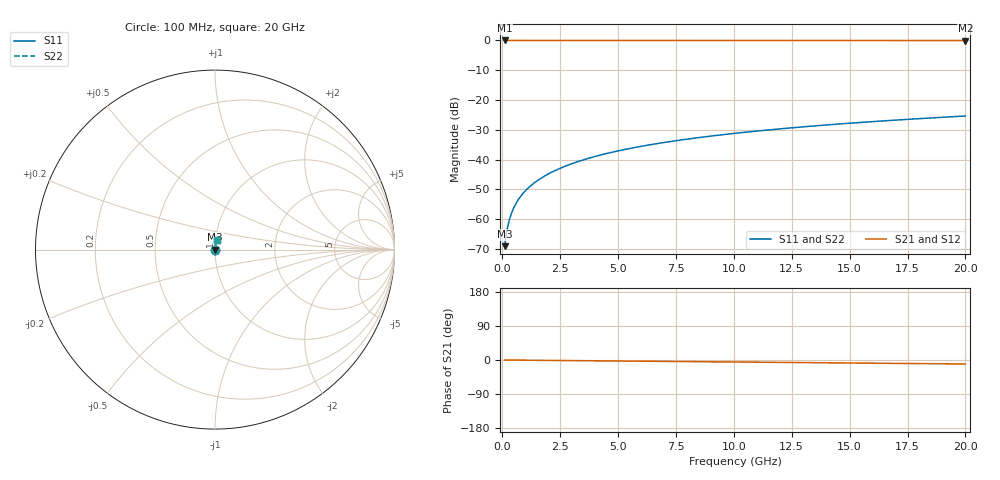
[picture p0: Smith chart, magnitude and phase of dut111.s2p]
! Touchstone file exported from HFSS 2026.1.0
!  File:  C:/ffzhzh/LocalFiles/Ansys_Project_Files/temp_train_TSV_111_1782989685_42984.aedt
!  Generated:  06:56:25 PM Jul  2, 2026
!  Design:  TSV
!  Project:  temp_train_TSV_111_1782989685_42984
! Variables:
!  h_bsmrdl = 2um
!  h_ox = 20um
!  h_rdl = 5um
!  h_sub = 98.56um
!  h_tmrdl = 5um
!  h_tsv = 98.56um
!  h_via = 3um
!  l_bsmrdl = 300um
!  l_sub = 419.46um
!  l_tmrdl = 200um
!  m_sub = 200um
!  pitch = 57.89um
!  r_tsv = 9.73um
!  s_tmrdl = 10um
!  w_bsmrdl = 18um
!  w_sub = 500um
!  w_tmrdl = 12um
!  x_tsv_center1 = 206um
!  x_tsv_center2 = 524um
!  x_tsv_center3 = 736um
!  x_tsv_center4 = 1054um
!  x_tsv_center5 = 1266um
!  x_tsv_center6 = 1584um
# GHz S MA R 50.000000
! Terminal data exported
! Port[1] = TSV1_1_T1
! Port[2] = TSV1_1_T2
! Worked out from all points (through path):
!   200 points, 100 MHz to 20 GHz, reference 50 ohm
!   highest |S21| = 0.00 dB at 100 MHz (marker M1); lowest = 0.0 dB at 20 GHz (marker M2)
!   group delay of S21, straight-line fit = 1.46 ps
!   lowest |S11| = -69.0 dB at 100 MHz (marker M3), VSWR 1.00, Z = 50 + j0.032 ohm
!   |S11| at or under -10 dB: start of sweep to end of sweep
!   |S22| runs from -69.0 to -25.3 dB; largest |S21 - S12| = 2.1e-15
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0.1  0.0003542 64.5  0.9998 -0.1  0.9998 -0.1  0.0003542 64.5
! Gamma 0 0 0 0
! Port Impedance 50 0 50 0
0.2  0.000658 75.5  0.9998 -0.1  0.9998 -0.1  0.000658 75.5
0.3  0.0009674 79.0  0.9998 -0.2  0.9998 -0.2  0.0009674 79.0
0.4  0.001274 80.5  0.9998 -0.2  0.9998 -0.2  0.001274 80.5
0.5  0.001575 81.3  0.9998 -0.3  0.9998 -0.3  0.001575 81.3
0.6  0.001872 81.8  0.9997 -0.3  0.9997 -0.3  0.001872 81.8
0.7  0.002163 82.2  0.9997 -0.4  0.9997 -0.4  0.002163 82.2
0.8  0.002451 82.4  0.9997 -0.4  0.9997 -0.4  0.002451 82.4
1  0.003018 82.8  0.9996 -0.5  0.9996 -0.5  0.003018 82.8
1.4  0.004134 83.5  0.9996 -0.8  0.9996 -0.8  0.004134 83.5
1.7  0.004965 83.8  0.9995 -0.9  0.9995 -0.9  0.004965 83.8
2  0.005794 84.1  0.9995 -1.1  0.9995 -1.1  0.005794 84.1
2.7  0.007727 84.4  0.9994 -1.4  0.9994 -1.4  0.007727 84.4
3.5  0.00993 84.5  0.9993 -1.9  0.9993 -1.9  0.00993 84.5
4.2  0.01185 84.5  0.9992 -2.2  0.9992 -2.2  0.01185 84.5
5  0.01404 84.3  0.9992 -2.6  0.9992 -2.6  0.01404 84.3
6.8  0.01893 83.8  0.9989 -3.6  0.9989 -3.6  0.01893 83.8
8.3  0.02298 83.2  0.9988 -4.4  0.9988 -4.4  0.02298 83.2
10.1  0.02782 82.5  0.9985 -5.3  0.9985 -5.3  0.02782 82.5
13.4  0.03665 81.0  0.9981 -7.1  0.9981 -7.1  0.03665 81.0
16.7  0.04539 79.5  0.9976 -8.8  0.9976 -8.8  0.04539 79.5
20  0.05404 77.9  0.997 -10.5  0.997 -10.5  0.05404 77.9
